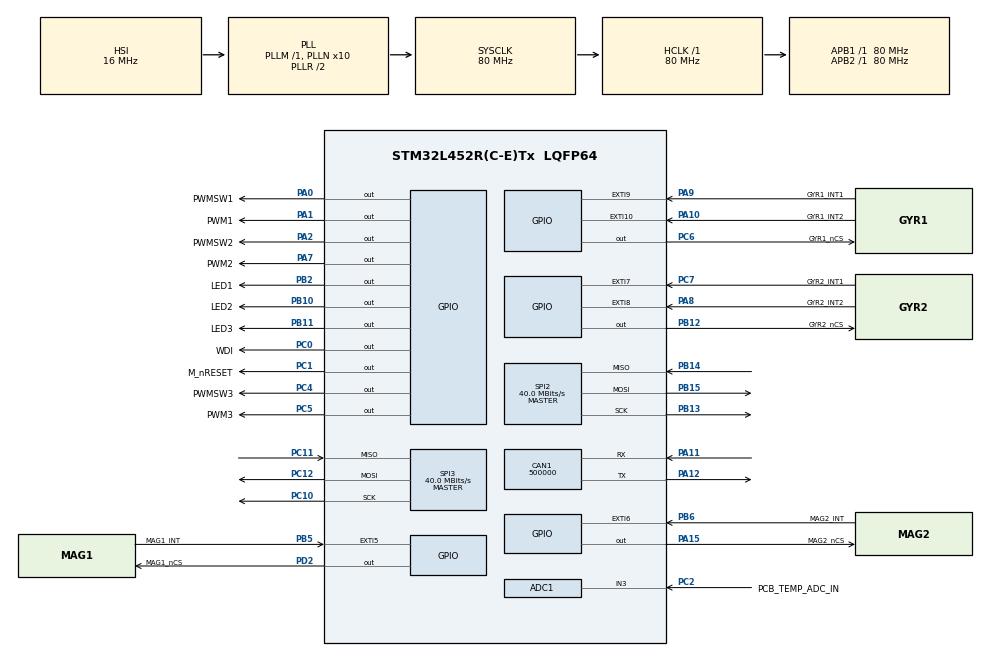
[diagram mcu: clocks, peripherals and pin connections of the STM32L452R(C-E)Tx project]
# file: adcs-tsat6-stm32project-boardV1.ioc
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ADC1.Channel-0\#ChannelRegularConversion=ADC_CHANNEL_3
ADC1.NbrOfConversionFlag=1
ADC1.OffsetNumber-0\#ChannelRegularConversion=ADC_OFFSET_NONE
ADC1.Rank-0\#ChannelRegularConversion=1
ADC1.SamplingTime-0\#ChannelRegularConversion=ADC_SAMPLETIME_2CYCLES_5
ADC1.master=1
CAN1.BS1=CAN_BS1_5TQ
CAN1.BS2=CAN_BS2_4TQ
CAN1.CalculateBaudRate=500000
CAN1.CalculateTimeBit=2000
CAN1.CalculateTimeQuantum=200.0
Mcu.Family=STM32L4
Mcu.Name=STM32L452R(C-E)Tx
Mcu.Package=LQFP64
NVIC.CAN1_RX0_IRQn=true\:0\:0\:false\:false\:true\:true\:true\:true
NVIC.EXTI9_5_IRQn=true\:0\:0\:false\:false\:true\:true\:true\:true
NVIC.PriorityGroup=NVIC_PRIORITYGROUP_4
PA0.GPIO_Label=PWMSW1
PA0.Signal=GPIO_Output
PA1.GPIO_Label=PWM1
PA1.Signal=GPIO_Output
PA10.GPIO_Label=GYR1_INT2
PA10.Signal=GPXTI10
PA11.Mode=CAN_Activate
PA11.Signal=CAN1_RX
PA12.Mode=CAN_Activate
PA12.Signal=CAN1_TX
PA13\ (JTMS/SWDIO).Mode=Trace_Asynchronous_SW
PA13\ (JTMS/SWDIO).Signal=SYS_JTMS-SWDIO
PA14\ (JTCK/SWCLK).Mode=Trace_Asynchronous_SW
PA14\ (JTCK/SWCLK).Signal=SYS_JTCK-SWCLK
PA15\ (JTDI).GPIO_Label=MAG2_nCS
PA15\ (JTDI).PinState=GPIO_PIN_SET
PA15\ (JTDI).Signal=GPIO_Output
PA2.GPIO_Label=PWMSW2
PA2.Signal=GPIO_Output
PA7.GPIO_Label=PWM2
PA7.Signal=GPIO_Output
PA8.GPIO_Label=GYR2_INT2
PA8.Signal=GPXTI8
PA9.GPIO_Label=GYR1_INT1
PA9.Signal=GPXTI9
PB10.GPIO_Label=LED2
PB10.Signal=GPIO_Output
PB11.GPIO_Label=LED3
PB11.Signal=GPIO_Output
PB12.GPIO_Label=GYR2_nCS
PB12.PinState=GPIO_PIN_SET
PB12.Signal=GPIO_Output
PB13.Mode=Full_Duplex_Master
PB13.Signal=SPI2_SCK
PB14.Mode=Full_Duplex_Master
PB14.Signal=SPI2_MISO
PB15.Mode=Full_Duplex_Master
PB15.Signal=SPI2_MOSI
PB2.GPIO_Label=LED1
PB2.Signal=GPIO_Output
PB3\ (JTDO/TRACESWO).Mode=Trace_Asynchronous_SW
PB3\ (JTDO/TRACESWO).Signal=SYS_JTDO-SWO
PB5.GPIO_Label=MAG1_INT
PB5.Signal=GPXTI5
PB6.GPIO_Label=MAG2_INT
PB6.Signal=GPXTI6
PC0.GPIO_Label=WDI
PC0.Signal=GPIO_Output
PC1.GPIO_Label=M_nRESET
PC1.PinState=GPIO_PIN_SET
PC1.Signal=GPIO_Output
PC10.Mode=Full_Duplex_Master
PC10.Signal=SPI3_SCK
PC11.Mode=Full_Duplex_Master
PC11.Signal=SPI3_MISO
PC12.Mode=Full_Duplex_Master
PC12.Signal=SPI3_MOSI
PC2.GPIO_Label=PCB_TEMP_ADC_IN
PC2.Signal=ADCx_IN3
PC4.GPIO_Label=PWMSW3
PC4.Signal=GPIO_Output
PC5.GPIO_Label=PWM3
PC5.Signal=GPIO_Output
PC6.GPIO_Label=GYR1_nCS
PC6.PinState=GPIO_PIN_SET
PC6.Signal=GPIO_Output
PC7.GPIO_Label=GYR2_INT1
PC7.Signal=GPXTI7
PD2.GPIO_Label=MAG1_nCS
PD2.PinState=GPIO_PIN_SET
PD2.Signal=GPIO_Output
ProjectManager.HeapSize=0x200
ProjectManager.StackSize=0x400
ProjectManager.TargetToolchain=STM32CubeIDE
RCC.ADCFreq_Value=64000000
RCC.AHBFreq_Value=80000000
RCC.APB1Freq_Value=80000000
RCC.APB1TimFreq_Value=80000000
RCC.APB2Freq_Value=80000000
RCC.APB2TimFreq_Value=80000000
RCC.CortexFreq_Value=80000000
RCC.HCLKFreq_Value=80000000
RCC.HSE_VALUE=8000000
RCC.HSI48_VALUE=48000000
RCC.HSI_VALUE=16000000
RCC.LSE_VALUE=32768
RCC.MSI_VALUE=4000000
RCC.PLLN=10
RCC.PLLSourceVirtual=RCC_PLLSOURCE_HSI
RCC.SYSCLKFreq_VALUE=80000000
RCC.SYSCLKSource=RCC_SYSCLKSOURCE_PLLCLK
RCC.USBFreq_Value=64000000
RCC.VCOOutputFreq_Value=160000000
SH.ADCx_IN3.0=ADC1_IN3,IN3-Single-Ended
SPI2.CalculateBaudRate=40.0 MBits/s
SPI2.DataSize=SPI_DATASIZE_8BIT
SPI2.Direction=SPI_DIRECTION_2LINES
SPI2.Mode=SPI_MODE_MASTER
SPI2.VirtualType=VM_MASTER
SPI3.CalculateBaudRate=40.0 MBits/s
SPI3.DataSize=SPI_DATASIZE_8BIT
SPI3.Direction=SPI_DIRECTION_2LINES
SPI3.Mode=SPI_MODE_MASTER
SPI3.VirtualType=VM_MASTER
board=custom

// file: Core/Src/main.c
/* USER CODE BEGIN Header */
/**
  ******************************************************************************
  * @file           : main.c
  * @brief          : Main program body
  ******************************************************************************
  * @attention
  *
  * Copyright (c) 2023 STMicroelectronics.
  * All rights reserved.
  *
  * This software is licensed under terms that can be found in the LICENSE file
  * in the root directory of this software component.
  * If no LICENSE file comes with this software, it is provided AS-IS.
  *
  ******************************************************************************
  */
/* USER CODE END Header */
#include "main.h"

/* USER CODE BEGIN Includes */
#include <stdio.h>
#include <stdlib.h>

#include "LEDs_driver.h"
#include "MAX6822_driver.h"
#include "can.h"
#include "can_message_queue.h"
#include "Magnetorquers_driver.h"
#include "GYRO_A3G4250DTR_driver.h"
#include "magnetometer_driver.h"
/* USER CODE END Includes */

ADC_HandleTypeDef hadc1;

CAN_HandleTypeDef hcan1;

SPI_HandleTypeDef hspi2;
SPI_HandleTypeDef hspi3;

/* USER CODE BEGIN PV */
CANQueue_t can_queue;

/* USER CODE END PV */

void SystemClock_Config(void);
static void MX_GPIO_Init(void);
static void MX_CAN1_Init(void);
static void MX_SPI2_Init(void);
static void MX_ADC1_Init(void);
static void MX_SPI3_Init(void);

int main(void)
{

  /* MCU Configuration--------------------------------------------------------*/

  /* Reset of all peripherals, Initializes the Flash interface and the Systick. */
  HAL_Init();

  /* Configure the system clock */
  SystemClock_Config();

  /* Initialize all configured peripherals */
  MX_GPIO_Init();
  MX_CAN1_Init();
  MX_SPI2_Init();
  MX_ADC1_Init();
  MX_SPI3_Init();
  /* USER CODE BEGIN 2 */
  CAN_Queue_Init(&can_queue);

  MAX6822_Init();

  LEDs_Init();

  GYRO_Init();

  MAG_Init();

  Magnetorquers_Init();

  HAL_StatusTypeDef can_operation_status;
  can_operation_status = CAN_Init();
  if (can_operation_status != HAL_OK) goto error;

  /* USER CODE END 2 */

  /* Infinite loop */
  /* USER CODE BEGIN WHILE */
  while (1)
  {
      MAX6822_WDI_Toggle();

      if(!CAN_Queue_IsEmpty(&can_queue))
      {
          CANMessage_t can_message;
          CAN_Queue_Dequeue(&can_queue, &can_message);
          switch (can_message.command)
          {
              case 0xB0: //STM32 Reset
                  CAN_Send_Default_ACK(can_message);
                  MAX6822_Manual_Reset();
                  break;

              case 0xB1: //Magnetorquer 1 Full Strength
                  Magnetorquer1_Full_Strength();
                  CAN_Send_Default_ACK(can_message);
                  break;

              case 0xB2: //Magnetorquer 2 Full Strength
                  Magnetorquer2_Full_Strength();
                  CAN_Send_Default_ACK(can_message);
                  break;

              case 0xB3: //Magnetorquer 3 Full Strength
                  Magnetorquer3_Full_Strength();
                  CAN_Send_Default_ACK(can_message);
                  break;

              case 0xB4: //Magnetorquer 1 Off
                  Magnetorquer1_Off();
                  CAN_Send_Default_ACK(can_message);
                  break;

              case 0xB5: //Magnetorquer 2 Off
                  Magnetorquer2_Off();
                  CAN_Send_Default_ACK(can_message);
                  break;

              case 0xB6: //Magnetorquer 3 Off
                  Magnetorquer3_Off();
                  CAN_Send_Default_ACK(can_message);
                  break;

              case 0xB7: //Magnetorquer 1 Forward Direction
                  Magnetorquer1_Forward();
                  CAN_Send_Default_ACK(can_message);
                  break;

              case 0xB8: //Magnetorquer 2 Forward Direction
                  Magnetorquer2_Forward();
                  CAN_Send_Default_ACK(can_message);
                  break;

              case 0xB9: //Magnetorquer 3 Forward Direction
                  Magnetorquer3_Forward();
                  CAN_Send_Default_ACK(can_message);
                  break;

              case 0xBA: //Magnetorquer 1 Reverse Direction
                  Magnetorquer1_Reverse();
                  CAN_Send_Default_ACK(can_message);
                  break;

              case 0xBB: //Magnetorquer 2 Reverse Direction
                  Magnetorquer2_Reverse();
                  CAN_Send_Default_ACK(can_message);
                  break;

              case 0xBC: //Magnetorquer 3 Reverse Direction
                  Magnetorquer3_Reverse();
                  CAN_Send_Default_ACK(can_message);
                  break;

              default:
                  break;
          }
      }
    /* USER CODE END WHILE */

    /* USER CODE BEGIN 3 */
  }

error:
  exit(1);
  /* USER CODE END 3 */
}

void SystemClock_Config(void)
{
  RCC_OscInitTypeDef RCC_OscInitStruct = {0};
  RCC_ClkInitTypeDef RCC_ClkInitStruct = {0};

  /** Configure the main internal regulator output voltage
  */
  if (HAL_PWREx_ControlVoltageScaling(PWR_REGULATOR_VOLTAGE_SCALE1) != HAL_OK)
  {
    Error_Handler();
  }

  /** Initializes the RCC Oscillators according to the specified parameters
  * in the RCC_OscInitTypeDef structure.
  */
  RCC_OscInitStruct.OscillatorType = RCC_OSCILLATORTYPE_HSI;
  RCC_OscInitStruct.HSIState = RCC_HSI_ON;
  RCC_OscInitStruct.HSICalibrationValue = RCC_HSICALIBRATION_DEFAULT;
  RCC_OscInitStruct.PLL.PLLState = RCC_PLL_ON;
  RCC_OscInitStruct.PLL.PLLSource = RCC_PLLSOURCE_HSI;
  RCC_OscInitStruct.PLL.PLLM = 1;
  RCC_OscInitStruct.PLL.PLLN = 10;
  RCC_OscInitStruct.PLL.PLLP = RCC_PLLP_DIV7;
  RCC_OscInitStruct.PLL.PLLQ = RCC_PLLQ_DIV2;
  RCC_OscInitStruct.PLL.PLLR = RCC_PLLR_DIV2;
  if (HAL_RCC_OscConfig(&RCC_OscInitStruct) != HAL_OK)
  {
    Error_Handler();
  }

  /** Initializes the CPU, AHB and APB buses clocks
  */
  RCC_ClkInitStruct.ClockType = RCC_CLOCKTYPE_HCLK|RCC_CLOCKTYPE_SYSCLK
                              |RCC_CLOCKTYPE_PCLK1|RCC_CLOCKTYPE_PCLK2;
  RCC_ClkInitStruct.SYSCLKSource = RCC_SYSCLKSOURCE_PLLCLK;
  RCC_ClkInitStruct.AHBCLKDivider = RCC_SYSCLK_DIV1;
  RCC_ClkInitStruct.APB1CLKDivider = RCC_HCLK_DIV1;
  RCC_ClkInitStruct.APB2CLKDivider = RCC_HCLK_DIV1;

  if (HAL_RCC_ClockConfig(&RCC_ClkInitStruct, FLASH_LATENCY_4) != HAL_OK)
  {
    Error_Handler();
  }
}

static void MX_ADC1_Init(void)
{

  ADC_ChannelConfTypeDef sConfig = {0};

  /** Common config
  */
  hadc1.Instance = ADC1;
  hadc1.Init.ClockPrescaler = ADC_CLOCK_ASYNC_DIV1;
  hadc1.Init.Resolution = ADC_RESOLUTION_12B;
  hadc1.Init.DataAlign = ADC_DATAALIGN_RIGHT;
  hadc1.Init.ScanConvMode = ADC_SCAN_DISABLE;
  hadc1.Init.EOCSelection = ADC_EOC_SINGLE_CONV;
  hadc1.Init.LowPowerAutoWait = DISABLE;
  hadc1.Init.ContinuousConvMode = DISABLE;
  hadc1.Init.NbrOfConversion = 1;
  hadc1.Init.DiscontinuousConvMode = DISABLE;
  hadc1.Init.ExternalTrigConv = ADC_SOFTWARE_START;
  hadc1.Init.ExternalTrigConvEdge = ADC_EXTERNALTRIGCONVEDGE_NONE;
  hadc1.Init.DMAContinuousRequests = DISABLE;
  hadc1.Init.Overrun = ADC_OVR_DATA_PRESERVED;
  hadc1.Init.OversamplingMode = DISABLE;
  hadc1.Init.DFSDMConfig = ADC_DFSDM_MODE_ENABLE;
  if (HAL_ADC_Init(&hadc1) != HAL_OK)
  {
    Error_Handler();
  }

  /** Configure Regular Channel
  */
  sConfig.Channel = ADC_CHANNEL_3;
  sConfig.Rank = ADC_REGULAR_RANK_1;
  sConfig.SamplingTime = ADC_SAMPLETIME_2CYCLES_5;
  sConfig.SingleDiff = ADC_SINGLE_ENDED;
  sConfig.OffsetNumber = ADC_OFFSET_NONE;
  sConfig.Offset = 0;
  if (HAL_ADC_ConfigChannel(&hadc1, &sConfig) != HAL_OK)
  {
    Error_Handler();
  }

}

static void MX_CAN1_Init(void)
{

  hcan1.Instance = CAN1;
  hcan1.Init.Prescaler = 16;
  hcan1.Init.Mode = CAN_MODE_NORMAL;
  hcan1.Init.SyncJumpWidth = CAN_SJW_1TQ;
  hcan1.Init.TimeSeg1 = CAN_BS1_5TQ;
  hcan1.Init.TimeSeg2 = CAN_BS2_4TQ;
  hcan1.Init.TimeTriggeredMode = DISABLE;
  hcan1.Init.AutoBusOff = DISABLE;
  hcan1.Init.AutoWakeUp = DISABLE;
  hcan1.Init.AutoRetransmission = DISABLE;
  hcan1.Init.ReceiveFifoLocked = DISABLE;
  hcan1.Init.TransmitFifoPriority = DISABLE;
  if (HAL_CAN_Init(&hcan1) != HAL_OK)
  {
    Error_Handler();
  }

}

static void MX_SPI2_Init(void)
{

  /* SPI2 parameter configuration*/
  hspi2.Instance = SPI2;
  hspi2.Init.Mode = SPI_MODE_MASTER;
  hspi2.Init.Direction = SPI_DIRECTION_2LINES;
  hspi2.Init.DataSize = SPI_DATASIZE_8BIT;
  hspi2.Init.CLKPolarity = SPI_POLARITY_LOW;
  hspi2.Init.CLKPhase = SPI_PHASE_1EDGE;
  hspi2.Init.NSS = SPI_NSS_SOFT;
  hspi2.Init.BaudRatePrescaler = SPI_BAUDRATEPRESCALER_2;
  hspi2.Init.FirstBit = SPI_FIRSTBIT_MSB;
  hspi2.Init.TIMode = SPI_TIMODE_DISABLE;
  hspi2.Init.CRCCalculation = SPI_CRCCALCULATION_DISABLE;
  hspi2.Init.CRCPolynomial = 7;
  hspi2.Init.CRCLength = SPI_CRC_LENGTH_DATASIZE;
  hspi2.Init.NSSPMode = SPI_NSS_PULSE_ENABLE;
  if (HAL_SPI_Init(&hspi2) != HAL_OK)
  {
    Error_Handler();
  }

}

static void MX_SPI3_Init(void)
{

  /* SPI3 parameter configuration*/
  hspi3.Instance = SPI3;
  hspi3.Init.Mode = SPI_MODE_MASTER;
  hspi3.Init.Direction = SPI_DIRECTION_2LINES;
  hspi3.Init.DataSize = SPI_DATASIZE_8BIT;
  hspi3.Init.CLKPolarity = SPI_POLARITY_LOW;
  hspi3.Init.CLKPhase = SPI_PHASE_1EDGE;
  hspi3.Init.NSS = SPI_NSS_SOFT;
  hspi3.Init.BaudRatePrescaler = SPI_BAUDRATEPRESCALER_2;
  hspi3.Init.FirstBit = SPI_FIRSTBIT_MSB;
  hspi3.Init.TIMode = SPI_TIMODE_DISABLE;
  hspi3.Init.CRCCalculation = SPI_CRCCALCULATION_DISABLE;
  hspi3.Init.CRCPolynomial = 7;
  hspi3.Init.CRCLength = SPI_CRC_LENGTH_DATASIZE;
  hspi3.Init.NSSPMode = SPI_NSS_PULSE_ENABLE;
  if (HAL_SPI_Init(&hspi3) != HAL_OK)
  {
    Error_Handler();
  }

}

static void MX_GPIO_Init(void)
{
  GPIO_InitTypeDef GPIO_InitStruct = {0};

  /* GPIO Ports Clock Enable */
  __HAL_RCC_GPIOC_CLK_ENABLE();
  __HAL_RCC_GPIOA_CLK_ENABLE();
  __HAL_RCC_GPIOB_CLK_ENABLE();
  __HAL_RCC_GPIOD_CLK_ENABLE();

  /*Configure GPIO pin Output Level */
  HAL_GPIO_WritePin(GPIOC, WDI_Pin|PWMSW3_Pin|PWM3_Pin, GPIO_PIN_RESET);

  /*Configure GPIO pin Output Level */
  HAL_GPIO_WritePin(GPIOC, M_nRESET_Pin|GYR1_nCS_Pin, GPIO_PIN_SET);

  /*Configure GPIO pin Output Level */
  HAL_GPIO_WritePin(GPIOA, PWMSW1_Pin|PWM1_Pin|PWMSW2_Pin|PWM2_Pin, GPIO_PIN_RESET);

  /*Configure GPIO pin Output Level */
  HAL_GPIO_WritePin(GPIOB, LED1_Pin|LED2_Pin|LED3_Pin, GPIO_PIN_RESET);

  /*Configure GPIO pin Output Level */
  HAL_GPIO_WritePin(GYR2_nCS_GPIO_Port, GYR2_nCS_Pin, GPIO_PIN_SET);

  /*Configure GPIO pin Output Level */
  HAL_GPIO_WritePin(MAG2_nCS_GPIO_Port, MAG2_nCS_Pin, GPIO_PIN_SET);

  /*Configure GPIO pin Output Level */
  HAL_GPIO_WritePin(MAG1_nCS_GPIO_Port, MAG1_nCS_Pin, GPIO_PIN_SET);

  /*Configure GPIO pins : WDI_Pin M_nRESET_Pin PWMSW3_Pin PWM3_Pin
                           GYR1_nCS_Pin */
  GPIO_InitStruct.Pin = WDI_Pin|M_nRESET_Pin|PWMSW3_Pin|PWM3_Pin
                          |GYR1_nCS_Pin;
  GPIO_InitStruct.Mode = GPIO_MODE_OUTPUT_PP;
  GPIO_InitStruct.Pull = GPIO_NOPULL;
  GPIO_InitStruct.Speed = GPIO_SPEED_FREQ_LOW;
  HAL_GPIO_Init(GPIOC, &GPIO_InitStruct);

  /*Configure GPIO pins : PWMSW1_Pin PWM1_Pin PWMSW2_Pin PWM2_Pin
                           MAG2_nCS_Pin */
  GPIO_InitStruct.Pin = PWMSW1_Pin|PWM1_Pin|PWMSW2_Pin|PWM2_Pin
                          |MAG2_nCS_Pin;
  GPIO_InitStruct.Mode = GPIO_MODE_OUTPUT_PP;
  GPIO_InitStruct.Pull = GPIO_NOPULL;
  GPIO_InitStruct.Speed = GPIO_SPEED_FREQ_LOW;
  HAL_GPIO_Init(GPIOA, &GPIO_InitStruct);

  /*Configure GPIO pins : LED1_Pin LED2_Pin LED3_Pin GYR2_nCS_Pin */
  GPIO_InitStruct.Pin = LED1_Pin|LED2_Pin|LED3_Pin|GYR2_nCS_Pin;
  GPIO_InitStruct.Mode = GPIO_MODE_OUTPUT_PP;
  GPIO_InitStruct.Pull = GPIO_NOPULL;
  GPIO_InitStruct.Speed = GPIO_SPEED_FREQ_LOW;
  HAL_GPIO_Init(GPIOB, &GPIO_InitStruct);

  /*Configure GPIO pin : GYR2_INT1_Pin */
  GPIO_InitStruct.Pin = GYR2_INT1_Pin;
  GPIO_InitStruct.Mode = GPIO_MODE_IT_RISING;
  GPIO_InitStruct.Pull = GPIO_NOPULL;
  HAL_GPIO_Init(GYR2_INT1_GPIO_Port, &GPIO_InitStruct);

  /*Configure GPIO pins : GYR2_INT2_Pin GYR1_INT1_Pin GYR1_INT2_Pin */
  GPIO_InitStruct.Pin = GYR2_INT2_Pin|GYR1_INT1_Pin|GYR1_INT2_Pin;
  GPIO_InitStruct.Mode = GPIO_MODE_IT_RISING;
  GPIO_InitStruct.Pull = GPIO_NOPULL;
  HAL_GPIO_Init(GPIOA, &GPIO_InitStruct);

  /*Configure GPIO pin : MAG1_nCS_Pin */
  GPIO_InitStruct.Pin = MAG1_nCS_Pin;
  GPIO_InitStruct.Mode = GPIO_MODE_OUTPUT_PP;
  GPIO_InitStruct.Pull = GPIO_NOPULL;
  GPIO_InitStruct.Speed = GPIO_SPEED_FREQ_LOW;
  HAL_GPIO_Init(MAG1_nCS_GPIO_Port, &GPIO_InitStruct);

  /*Configure GPIO pins : MAG1_INT_Pin MAG2_INT_Pin */
  GPIO_InitStruct.Pin = MAG1_INT_Pin|MAG2_INT_Pin;
  GPIO_InitStruct.Mode = GPIO_MODE_IT_RISING;
  GPIO_InitStruct.Pull = GPIO_NOPULL;
  HAL_GPIO_Init(GPIOB, &GPIO_InitStruct);

  /* EXTI interrupt init*/
  HAL_NVIC_SetPriority(EXTI9_5_IRQn, 0, 0);
  HAL_NVIC_EnableIRQ(EXTI9_5_IRQn);

}

/* USER CODE BEGIN 4 */
/**
  * @brief  Rx Fifo 0 message pending callback
  * @param  hcan: pointer to a CAN_HandleTypeDef structure that contains
  *         the configuration information for the specified CAN.
  * @retval None
  */
void HAL_CAN_RxFifo0MsgPendingCallback(CAN_HandleTypeDef *hcan1)
{
    HAL_StatusTypeDef operation_status;
    operation_status = CAN_Message_Received();
    if (operation_status != HAL_OK)
    {
        //TODO: Implement error handling for CAN message receives
    }
}
/* USER CODE END 4 */

void Error_Handler(void)
{
  __disable_irq();
  while (1)
  {
  }
}
